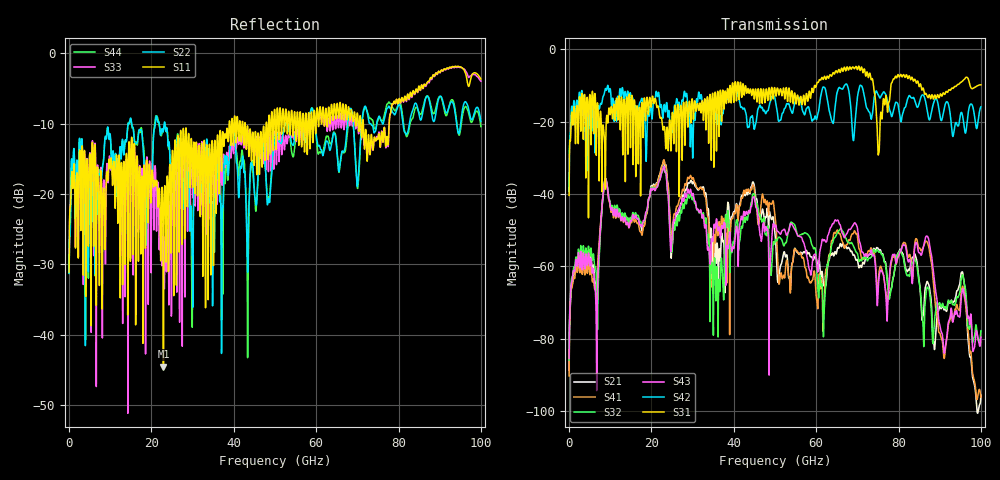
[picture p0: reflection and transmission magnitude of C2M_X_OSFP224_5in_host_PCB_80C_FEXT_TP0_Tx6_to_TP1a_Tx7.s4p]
# GHz S RI R 45
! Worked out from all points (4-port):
!   4000 points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, 25 MHz to 100 GHz, reference 45 ohm
!   strongest paths, dB at 25 MHz, 25.02 GHz, 50.02 GHz, 75.03 GHz, 100 GHz:
!     S31: -40.4, -18.0, -11.1, -28.7, -9.9
!     S42: -39.3, -21.6, -13.7, -12.5, -15.9
!     S43: -85.4, -52.4, -48.8, -67.1, -79.6
!     S32: -85.9, -55.7, -53.0, -55.7, -77.8
!     S41: -90.3, -50.4, -46.1, -65.3, -96.2
!     S21: -88.8, -54.0, -51.0, -55.0, -95.5
!   lowest |S11| = -44.6 dB at 22.93 GHz (marker M1), VSWR 1.01, Z = 45.2 - j0.495 ohm
!   |S11| at or under -10 dB: start of sweep to 38.87 GHz; 42.78 GHz to 47.87 GHz (5.088 GHz wide, 11.2 % of centre); 71.46 GHz to 77.72 GHz (6.262 GHz wide, 8.4 % of centre) (the widest 3 of 34)
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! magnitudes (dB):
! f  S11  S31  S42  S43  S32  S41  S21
! 25 MHz  -31.1  -40.4  -39.3  -85.4  -85.9  -90.3  -88.8
! 6.625 GHz  -35.8  -29.3  -19.0  -77.0  -62.6  -65.1  -67.6
! 8.8 GHz  -27.7  -38.1  -10.9  -35.7  -35.7  -35.9  -35.9
! 22.93 GHz  -44.6  -22.2  -17.1  -32.5  -32.5  -30.8  -30.9
! 36.1 GHz  -11.7  -11.7  -18.2  -49.7  -68.9  -51.4  -56.3
! 44.83 GHz  -13.7  -12.0  -21.3  -40.8  -39.9  -37.7  -37.0
! 100 GHz  -3.6  -9.9  -15.9  -79.6  -77.8  -96.2  -95.5
